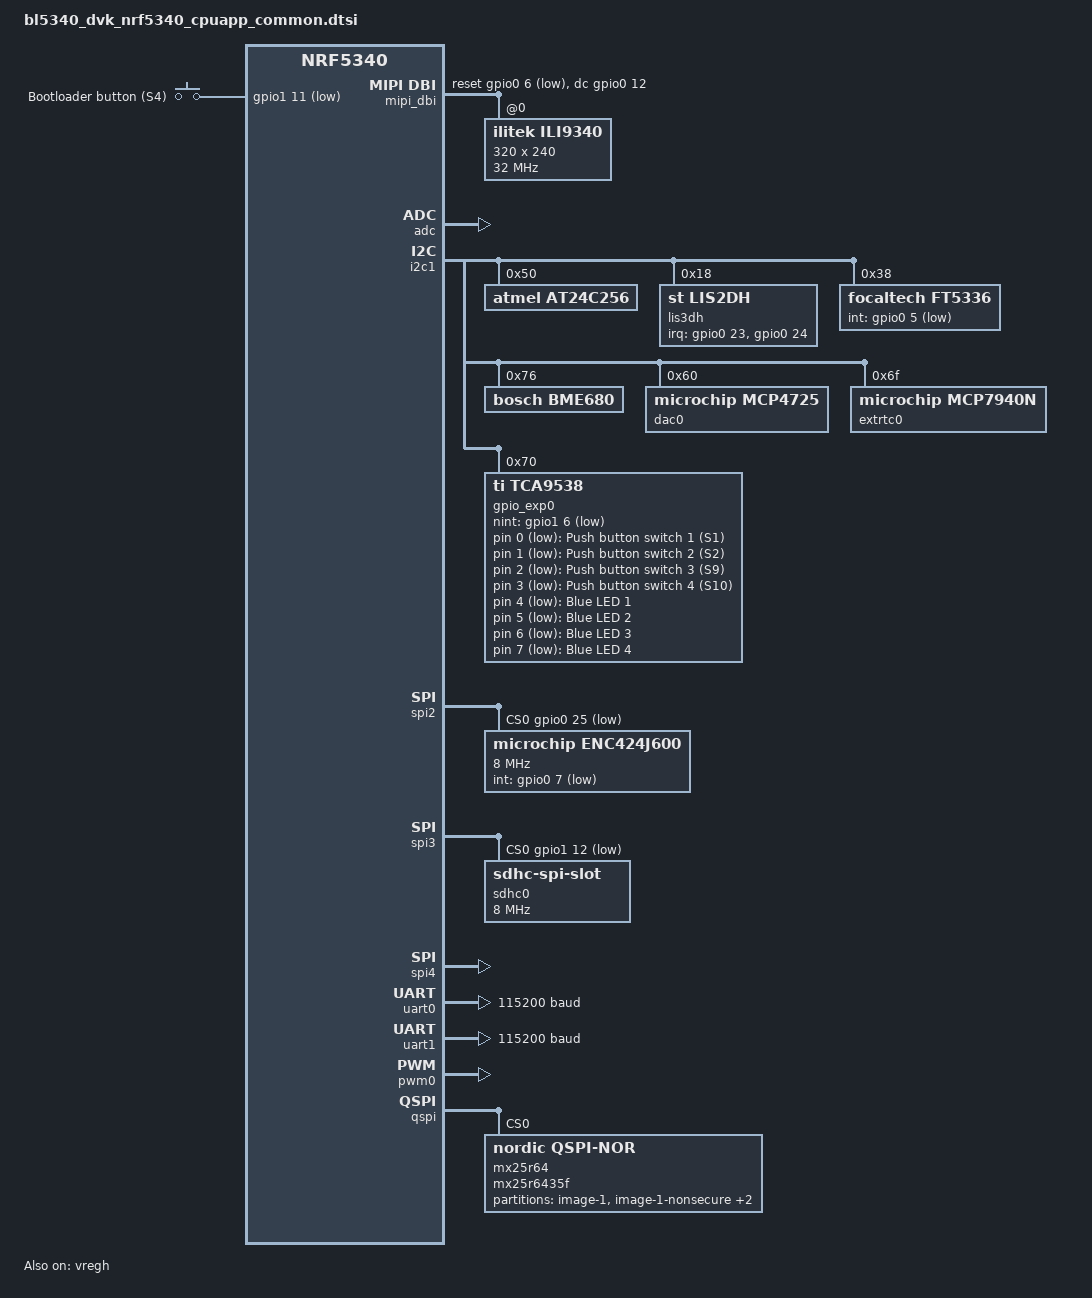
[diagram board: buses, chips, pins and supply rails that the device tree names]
/*
 * Copyright (c) 2019-2023 Nordic Semiconductor ASA
 * Copyright (c) 2021-2023 Laird Connectivity
 *
 * SPDX-License-Identifier: Apache-2.0
 */
#include "bl5340_dvk_nrf5340_cpuapp_common-pinctrl.dtsi"
#include <zephyr/dt-bindings/input/input-event-codes.h>

/ {
	chosen {
		zephyr,console = &uart0;
		zephyr,shell-uart = &uart0;
		zephyr,uart-mcumgr = &uart0;
		zephyr,bt-mon-uart = &uart0;
		zephyr,bt-c2h-uart = &uart0;
		zephyr,display = &ili9340;
		zephyr,bt-hci = &bt_hci_ipc0;
	};

	/* Main LEDs and buttons are on an I2C TCA9538 GPIO port expander */
	/* Note TCA9538 does not have configurable internal pull ups/ downs */
	buttons {
		compatible = "gpio-keys";
		boot_button0: boot_button {
			gpios = <&gpio1 11 GPIO_ACTIVE_LOW>;
			label = "Bootloader button (S4)";
			zephyr,code = <INPUT_KEY_0>;
		};

		button1: button_1 {
			gpios = <&gpio_exp0 0 GPIO_ACTIVE_LOW>;
			label = "Push button switch 1 (S1)";
			zephyr,code = <INPUT_KEY_1>;
		};

		button2: button_2 {
			gpios = <&gpio_exp0 1 GPIO_ACTIVE_LOW>;
			label = "Push button switch 2 (S2)";
			zephyr,code = <INPUT_KEY_2>;
		};

		button3: button_3 {
			gpios = <&gpio_exp0 2 GPIO_ACTIVE_LOW>;
			label = "Push button switch 3 (S9)";
			zephyr,code = <INPUT_KEY_3>;
		};

		button4: button_4 {
			gpios = <&gpio_exp0 3 GPIO_ACTIVE_LOW>;
			label = "Push button switch 4 (S10)";
			zephyr,code = <INPUT_KEY_4>;
		};
	};

	leds {
		compatible = "gpio-leds";
		led1: led_1 {
			gpios = <&gpio_exp0 4 GPIO_ACTIVE_LOW>;
			label = "Blue LED 1";
		};
		led2: led_2 {
			gpios = <&gpio_exp0 5 GPIO_ACTIVE_LOW>;
			label = "Blue LED 2";
		};
		led3: led_3 {
			gpios = <&gpio_exp0 6 GPIO_ACTIVE_LOW>;
			label = "Blue LED 3";
		};
		led4: led_4 {
			gpios = <&gpio_exp0 7 GPIO_ACTIVE_LOW>;
			label = "Blue LED 4";
		};
	};

	lvgl_pointer {
		compatible = "zephyr,lvgl-pointer-input";
		input = <&ft5336>;
		swap-xy;
		invert-x;
		invert-y;
	};

	gpio_fwd: nrf-gpio-forwarder {
		compatible = "nordic,nrf-gpio-forwarder";
		status = "okay";
		uart {
			gpios = <&gpio1 8 0>, <&gpio1 10 0>, <&gpio1 7 0>, <&gpio1 9 0>;
		};
	};

	/* These aliases are provided for compatibility with samples */
	aliases {
		led0 = &led1;
		led1 = &led2;
		led2 = &led3;
		led3 = &led4;
		sw0 = &button1;
		sw1 = &button2;
		sw2 = &button3;
		sw3 = &button4;
		mcuboot-button0 = &button1;
		mcuboot-led0 = &led1;
		sdhc0 = &sdhc0;
		watchdog0 = &wdt0;
		accel0 = &lis3dh;
		bbram0 = &extrtc0;
	};

	mipi_dbi {
		compatible = "zephyr,mipi-dbi-spi";
		reset-gpios = <&gpio0 6 GPIO_ACTIVE_LOW>;
		dc-gpios = <&gpio0 12 GPIO_ACTIVE_HIGH>;
		spi-dev = <&spi4>;
		write-only;
		#address-cells = <1>;
		#size-cells = <0>;

		ili9340: ili9340@0 {
			compatible = "ilitek,ili9340";
			reg = <0>;
			mipi-max-frequency = <32000000>;
			rotation = <270>;
			width = <320>;
			height = <240>;
		};
	};
};

&vregmain {
	regulator-initial-mode = <NRF5X_REG_MODE_DCDC>;
};

&vregradio {
	regulator-initial-mode = <NRF5X_REG_MODE_DCDC>;
};

&vregh {
	status = "okay";
};

&lfxo {
	load-capacitors = "internal";
	load-capacitance-picofarad = <7>;
};

&hfxo {
	load-capacitors = "internal";
	load-capacitance-femtofarad = <13500>;
};

&adc {
	status = "okay";
};

&gpiote {
	status = "okay";
};

&gpio0 {
	status = "okay";
};

&gpio1 {
	status = "okay";
};

&i2c1 {
	compatible = "nordic,nrf-twim";
	status = "okay";

	pinctrl-0 = <&i2c1_default>;
	pinctrl-1 = <&i2c1_sleep>;
	pinctrl-names = "default", "sleep";
	at24c256@50 {
		compatible = "atmel,at24c256", "atmel,at24";
		reg = <0x50>;
		size = <32768>;
		pagesize = <64>;
		address-width = <16>;
		timeout = <10>;
	};

	lis3dh: lis3dh@18 {
		compatible = "st,lis2dh";
		reg = <0x18>;
		irq-gpios = <&gpio0 23 GPIO_ACTIVE_HIGH>, <&gpio0 24 GPIO_ACTIVE_HIGH>;
	};

	ft5336: ft5336@38 {
		compatible = "focaltech,ft5336";
		reg = <0x38>;
		int-gpios = <&gpio0 5 GPIO_ACTIVE_LOW>;
	};

	bme680@76 {
		compatible = "bosch,bme680";
		reg = <0x76>;
	};

	dac0: mcp4725@60 {
		compatible = "microchip,mcp4725";
		reg = <0x60>;
		#io-channel-cells = <1>;
	};

	extrtc0: mcp7940n@6f {
		compatible = "microchip,mcp7940n";
		reg = <0x6f>;
		status = "okay";
	};

	gpio_exp0: tca9538@70 {
		compatible = "ti,tca9538";
		reg = <0x70>;
		gpio-controller;
		#gpio-cells = <2>;
		ngpios = <8>;
		nint-gpios = <&gpio1 6 GPIO_ACTIVE_LOW>;
	};
};

&spi2 {
	compatible = "nordic,nrf-spim";
	status = "okay";
	cs-gpios = <&gpio0 25 GPIO_ACTIVE_LOW>;

	pinctrl-0 = <&spi2_default>;
	pinctrl-1 = <&spi2_sleep>;
	pinctrl-names = "default", "sleep";
	enc424j600@0 {
		compatible = "microchip,enc424j600";
		reg = <0>;
		spi-max-frequency = <8000000>;
		int-gpios = <&gpio0 7 GPIO_ACTIVE_LOW>;
	};
};

&spi3 {
	compatible = "nordic,nrf-spim";
	status = "okay";
	cs-gpios = <&gpio1 12 GPIO_ACTIVE_LOW>;

	pinctrl-0 = <&spi3_default>;
	pinctrl-1 = <&spi3_sleep>;
	pinctrl-names = "default", "sleep";
	sdhc0: sdhc@0 {
		reg = <0>;
		compatible = "zephyr,sdhc-spi-slot";
		status = "okay";
		spi-max-frequency = <8000000>;
		mmc {
			compatible = "zephyr,sdmmc-disk";
			status = "okay";
		};
	};
};

&spi4 {
	compatible = "nordic,nrf-spim";
	status = "okay";
	cs-gpios = <&gpio0 11 GPIO_ACTIVE_LOW>;

	pinctrl-0 = <&spi4_default>;
	pinctrl-1 = <&spi4_sleep>;
	pinctrl-names = "default", "sleep";
};

&uart0 {
	status = "okay";
	current-speed = <115200>;
	pinctrl-0 = <&uart0_default>;
	pinctrl-1 = <&uart0_sleep>;
	pinctrl-names = "default", "sleep";
};

&uart1 {
	current-speed = <115200>;
	pinctrl-0 = <&uart1_default>;
	pinctrl-1 = <&uart1_sleep>;
	pinctrl-names = "default", "sleep";
};

&pwm0 {
	status = "okay";
	pinctrl-0 = <&pwm0_default>;
	pinctrl-1 = <&pwm0_sleep>;
	pinctrl-names = "default", "sleep";
};

&qspi {
	status = "okay";
	pinctrl-0 = <&qspi_default>;
	pinctrl-1 = <&qspi_sleep>;
	pinctrl-names = "default", "sleep";
	mx25r64: mx25r6435f@0 {
		compatible = "nordic,qspi-nor";
		reg = <0>;
		/* MX25R64 supports only pp and pp4io */
		writeoc = "pp4io";
		/* MX25R64 supports all readoc options */
		readoc = "read4io";
		sck-frequency = <8000000>;
		jedec-id = [c2 28 17];
		sfdp-bfp = [
			e5 20 f1 ff  ff ff ff 03  44 eb 08 6b  08 3b 04 bb
			ee ff ff ff  ff ff 00 ff  ff ff 00 ff  0c 20 0f 52
			10 d8 00 ff  23 72 f5 00  82 ed 04 cc  44 83 68 44
			30 b0 30 b0  f7 c4 d5 5c  00 be 29 ff  f0 d0 ff ff
		];
		size = <67108864>;
		has-dpd;
		t-enter-dpd = <10000>;
		t-exit-dpd = <35000>;
	};
};

&flash0 {
	partitions {
		compatible = "fixed-partitions";
		#address-cells = <1>;
		#size-cells = <1>;

		/* 64K */
		boot_partition: partition@0 {
			label = "mcuboot";
			reg = <0x00000000 0x00010000>;
		};
		/* 640K */
		slot0_partition: partition@10000 {
			label = "image-0";
		};
		/* 256K */
		slot0_ns_partition: partition@b0000 {
			label = "image-0-nonsecure";
		};

		/*
		 * The flash starting at 0x000f8000 and ending at
		 * 0x000fffff is reserved for use by the application.
		 */

		/*
		 * Storage partition will be used by FCB/NVS
		 * if enabled. 32K
		 */
		storage_partition: partition@f8000 {
			label = "storage";
			reg = <0x000f8000 0x00008000>;
		};
	};
};

&mx25r64 {
	partitions {
		compatible = "fixed-partitions";
		#address-cells = <1>;
		#size-cells = <1>;

		/* 640K */
		slot1_partition: partition@0 {
			label = "image-1";
		};
		/* 256K */
		slot1_ns_partition: partition@A0000 {
			label = "image-1-nonsecure";
		};
		/* 128K */
		scratch_partition: partition@e0000 {
			label = "image-scratch";
			reg = <0x000e0000 0x00020000>;
		};
		/* 7MB */
		lfs_partition: partition@100000 {
			label = "lfs_storage";
			reg = <0x00100000 0x00700000>;
		};
	};
};

/ {
	reserved-memory {
		#address-cells = <1>;
		#size-cells = <1>;
		ranges;

		sram0_image: image@20000000 {
			/* Zephyr image(s) memory */
		};

		sram0_s: image_s@20000000 {
			/* Secure image memory */
		};

		sram0_ns: image_ns@20040000 {
			/* Non-Secure image memory */
		};
	};
};

/* Include partition configuration file */
#include "bl5340_dvk_nrf5340_cpuapp_partition_conf.dtsi"
